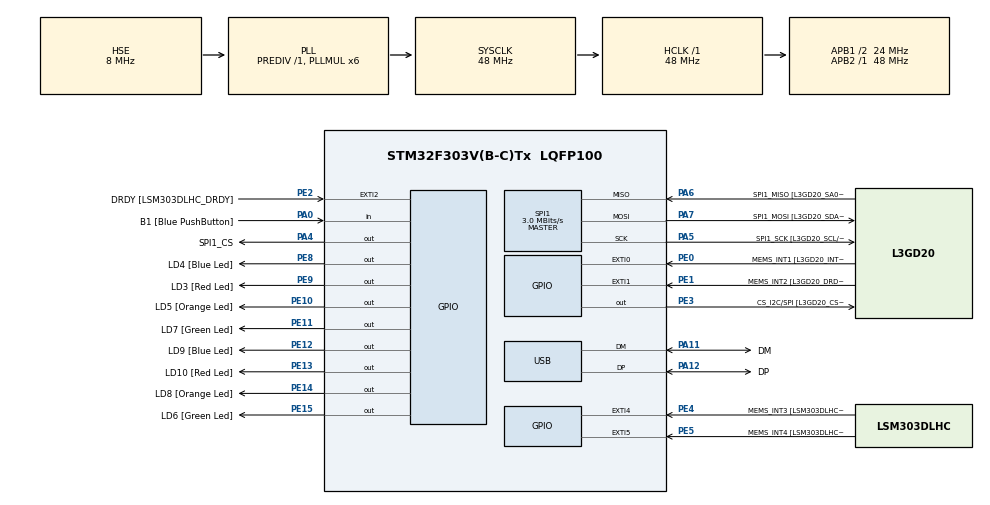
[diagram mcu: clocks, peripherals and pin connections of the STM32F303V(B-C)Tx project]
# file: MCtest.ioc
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Mcu.Family=STM32F3
Mcu.Name=STM32F303V(B-C)Tx
Mcu.Package=LQFP100
NVIC.PriorityGroup=NVIC_PRIORITYGROUP_0
NVIC.USB_LP_CAN_RX0_IRQn=true\:0\:0\:false\:false\:true
PA0.GPIO_Label=B1 [Blue PushButton]
PA0.GPIO_Mode=GPIO_MODE_INPUT
PA0.GPIO_PuPd=GPIO_NOPULL
PA0.Signal=GPIO_Input
PA11.GPIO_Label=DM
PA11.Mode=Device
PA11.Signal=USB_DM
PA12.GPIO_Label=DP
PA12.Mode=Device
PA12.Signal=USB_DP
PA13.GPIO_Label=SWDIO
PA13.Signal=SYS_JTMS-SWDIO
PA14.GPIO_Label=SWCLK
PA14.Signal=SYS_JTCK-SWCLK
PA4.GPIO_Label=SPI1_CS
PA4.PinState=GPIO_PIN_SET
PA4.Signal=GPIO_Output
PA5.GPIO_Label=SPI1_SCK [L3GD20_SCL/SPC]
PA5.GPIO_Mode=GPIO_MODE_AF_PP
PA5.GPIO_PuPd=GPIO_NOPULL
PA5.GPIO_Speed=GPIO_SPEED_FREQ_LOW
PA5.Mode=Full_Duplex_Master
PA5.Signal=SPI1_SCK
PA6.GPIO_Label=SPI1_MISO [L3GD20_SA0/SDO]
PA6.GPIO_Mode=GPIO_MODE_AF_PP
PA6.GPIO_PuPd=GPIO_NOPULL
PA6.GPIO_Speed=GPIO_SPEED_FREQ_LOW
PA6.Mode=Full_Duplex_Master
PA6.Signal=SPI1_MISO
PA7.GPIO_Label=SPI1_MOSI [L3GD20_SDA/SDI/SDO]
PA7.GPIO_Mode=GPIO_MODE_AF_PP
PA7.GPIO_PuPd=GPIO_NOPULL
PA7.GPIO_Speed=GPIO_SPEED_FREQ_LOW
PA7.Mode=Full_Duplex_Master
PA7.Signal=SPI1_MOSI
PB3.GPIO_Label=SWO
PB3.Signal=SYS_JTDO-TRACESWO
PB6.GPIO_FM6=__NULL
PB6.GPIO_Label=I2C1_SCL [LSM303DLHC_SCL]
PB6.GPIO_Mode=GPIO_MODE_AF_OD
PB6.GPIO_PuPd=GPIO_NOPULL
PB6.GPIO_Speed=GPIO_SPEED_FREQ_LOW
PB6.Signal=I2C1_SCL
PB7.GPIO_FM7=__NULL
PB7.GPIO_Label=I2C1_SDA [LSM303DLHC_SDA]
PB7.GPIO_Mode=GPIO_MODE_AF_OD
PB7.GPIO_PuPd=GPIO_NOPULL
PB7.GPIO_Speed=GPIO_SPEED_FREQ_LOW
PB7.Signal=I2C1_SDA
PC14-OSC32_IN.GPIO_Label=OSC32_IN
PC14-OSC32_IN.Signal=RCC_OSC32_IN
PC15-OSC32_OUT.GPIO_Label=OSC32_OUT
PC15-OSC32_OUT.Signal=RCC_OSC32_OUT
PE0.GPIO_Label=MEMS_INT1 [L3GD20_INT1]
PE0.GPIO_ModeDefaultEXTI=GPIO_MODE_EVT_RISING
PE0.GPIO_PuPd=GPIO_NOPULL
PE0.Signal=GPXTI0
PE1.GPIO_Label=MEMS_INT2 [L3GD20_DRDY/INT2]
PE1.GPIO_ModeDefaultEXTI=GPIO_MODE_EVT_RISING
PE1.GPIO_PuPd=GPIO_NOPULL
PE1.Signal=GPXTI1
PE10.GPIO_Label=LD5 [Orange Led]
PE10.GPIO_ModeDefaultOutputPP=GPIO_MODE_OUTPUT_PP
PE10.GPIO_PuPd=GPIO_NOPULL
PE10.GPIO_Speed=GPIO_SPEED_FREQ_LOW
PE10.Signal=GPIO_Output
PE11.GPIO_Label=LD7 [Green Led]
PE11.GPIO_ModeDefaultOutputPP=GPIO_MODE_OUTPUT_PP
PE11.GPIO_PuPd=GPIO_NOPULL
PE11.GPIO_Speed=GPIO_SPEED_FREQ_LOW
PE11.Signal=GPIO_Output
PE12.GPIO_Label=LD9 [Blue Led]
PE12.GPIO_ModeDefaultOutputPP=GPIO_MODE_OUTPUT_PP
PE12.GPIO_PuPd=GPIO_NOPULL
PE12.GPIO_Speed=GPIO_SPEED_FREQ_LOW
PE12.Signal=GPIO_Output
PE13.GPIO_Label=LD10 [Red Led]
PE13.GPIO_ModeDefaultOutputPP=GPIO_MODE_OUTPUT_PP
PE13.GPIO_PuPd=GPIO_NOPULL
PE13.GPIO_Speed=GPIO_SPEED_FREQ_LOW
PE13.Signal=GPIO_Output
PE14.GPIO_Label=LD8 [Orange Led]
PE14.GPIO_ModeDefaultOutputPP=GPIO_MODE_OUTPUT_PP
PE14.GPIO_PuPd=GPIO_NOPULL
PE14.GPIO_Speed=GPIO_SPEED_FREQ_LOW
PE14.Signal=GPIO_Output
PE15.GPIO_Label=LD6 [Green Led]
PE15.GPIO_ModeDefaultOutputPP=GPIO_MODE_OUTPUT_PP
PE15.GPIO_PuPd=GPIO_NOPULL
PE15.GPIO_Speed=GPIO_SPEED_FREQ_LOW
PE15.Signal=GPIO_Output
PE2.GPIO_Label=DRDY [LSM303DLHC_DRDY]
PE2.GPIO_ModeDefaultEXTI=GPIO_MODE_EVT_RISING
PE2.GPIO_PuPd=GPIO_NOPULL
PE2.Signal=GPXTI2
PE3.GPIO_Label=CS_I2C/SPI [L3GD20_CS_I2C/SPI]
PE3.GPIO_ModeDefaultOutputPP=GPIO_MODE_OUTPUT_PP
PE3.GPIO_PuPd=GPIO_NOPULL
PE3.GPIO_Speed=GPIO_SPEED_FREQ_LOW
PE3.Signal=GPIO_Output
PE4.GPIO_Label=MEMS_INT3 [LSM303DLHC_INT1]
PE4.GPIO_ModeDefaultEXTI=GPIO_MODE_EVT_RISING
PE4.GPIO_PuPd=GPIO_NOPULL
PE4.Signal=GPXTI4
PE5.GPIO_Label=MEMS_INT4 [LSM303DLHC_INT2]
PE5.GPIO_ModeDefaultEXTI=GPIO_MODE_EVT_RISING
PE5.GPIO_PuPd=GPIO_NOPULL
PE5.Signal=GPXTI5
PE8.GPIO_Label=LD4 [Blue Led]
PE8.GPIO_ModeDefaultOutputPP=GPIO_MODE_OUTPUT_PP
PE8.GPIO_PuPd=GPIO_NOPULL
PE8.GPIO_Speed=GPIO_SPEED_FREQ_LOW
PE8.Signal=GPIO_Output
PE9.GPIO_Label=LD3 [Red Led]
PE9.GPIO_ModeDefaultOutputPP=GPIO_MODE_OUTPUT_PP
PE9.GPIO_PuPd=GPIO_NOPULL
PE9.GPIO_Speed=GPIO_SPEED_FREQ_LOW
PE9.Signal=GPIO_Output
PF0-OSC_IN.GPIO_Label=OSC_IN
PF0-OSC_IN.Mode=HSE-External-Clock-Source
PF0-OSC_IN.Signal=RCC_OSC_IN
PF1-OSC_OUT.GPIO_Label=OSC_OUT
PF1-OSC_OUT.Signal=RCC_OSC_OUT
ProjectManager.HeapSize=0x200
ProjectManager.StackSize=0x400
ProjectManager.TargetToolchain=SW4STM32
RCC.AHBFreq_Value=48000000
RCC.APB1CLKDivider=RCC_HCLK_DIV2
RCC.APB1Freq_Value=24000000
RCC.APB1TimFreq_Value=48000000
RCC.APB2Freq_Value=48000000
RCC.APB2TimFreq_Value=48000000
RCC.CortexFreq_Value=48000000
RCC.HCLKFreq_Value=48000000
RCC.HSE_VALUE=8000000
RCC.HSIState=RCC_HSI_ON
RCC.HSI_VALUE=8000000
RCC.LSE_VALUE=32768
RCC.PLLMUL=RCC_PLL_MUL6
RCC.SYSCLKFreq_VALUE=48000000
RCC.SYSCLKSourceVirtual=RCC_SYSCLKSOURCE_PLLCLK
RCC.USBFreq_Value=48000000
SPI1.BaudRatePrescaler=SPI_BAUDRATEPRESCALER_16
SPI1.CalculateBaudRate=3.0 MBits/s
SPI1.DataSize=SPI_DATASIZE_8BIT
SPI1.Mode=SPI_MODE_MASTER
USB_DEVICE.CLASS_NAME_FS=CDC
USB_DEVICE.USBD_HandleTypeDef=hUsbDeviceFS
USB_DEVICE.VirtualMode=Cdc
USB_DEVICE.VirtualModeFS=Cdc_FS
VP_USB_DEVICE_VS_USB_DEVICE_CDC_FS.Mode=CDC_FS
board=STM32F3DISCOVERY

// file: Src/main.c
/**
  ******************************************************************************
  * File Name          : main.c
  * Description        : Main program body
  ******************************************************************************
  *
  * Copyright (c) 2016 STMicroelectronics International N.V.
  * All rights reserved.
  *
  * Redistribution and use in source and binary forms, with or without
  * modification, are permitted, provided that the following conditions are met:
  *
  * 1. Redistribution of source code must retain the above copyright notice,
  *    this list of conditions and the following disclaimer.
  * 2. Redistributions in binary form must reproduce the above copyright notice,
  *    this list of conditions and the following disclaimer in the documentation
  *    and/or other materials provided with the distribution.
  * 3. Neither the name of STMicroelectronics nor the names of other
  *    contributors to this software may be used to endorse or promote products
  *    derived from this software without specific written permission.
  * 4. This software, including modifications and/or derivative works of this
  *    software, must execute solely and exclusively on microcontroller or
  *    microprocessor devices manufactured by or for STMicroelectronics.
  * 5. Redistribution and use of this software other than as permitted under
  *    this license is void and will automatically terminate your rights under
  *    this license.
  *
  * THIS SOFTWARE IS PROVIDED BY STMICROELECTRONICS AND CONTRIBUTORS "AS IS"
  * AND ANY EXPRESS, IMPLIED OR STATUTORY WARRANTIES, INCLUDING, BUT NOT
  * LIMITED TO, THE IMPLIED WARRANTIES OF MERCHANTABILITY, FITNESS FOR A
  * PARTICULAR PURPOSE AND NON-INFRINGEMENT OF THIRD PARTY INTELLECTUAL PROPERTY
  * RIGHTS ARE DISCLAIMED TO THE FULLEST EXTENT PERMITTED BY LAW. IN NO EVENT
  * SHALL STMICROELECTRONICS OR CONTRIBUTORS BE LIABLE FOR ANY DIRECT, INDIRECT,
  * INCIDENTAL, SPECIAL, EXEMPLARY, OR CONSEQUENTIAL DAMAGES (INCLUDING, BUT NOT
  * LIMITED TO, PROCUREMENT OF SUBSTITUTE GOODS OR SERVICES; LOSS OF USE, DATA,
  * OR PROFITS; OR BUSINESS INTERRUPTION) HOWEVER CAUSED AND ON ANY THEORY OF
  * LIABILITY, WHETHER IN CONTRACT, STRICT LIABILITY, OR TORT (INCLUDING
  * NEGLIGENCE OR OTHERWISE) ARISING IN ANY WAY OUT OF THE USE OF THIS SOFTWARE,
  * EVEN IF ADVISED OF THE POSSIBILITY OF SUCH DAMAGE.
  *
  ******************************************************************************
  */
#include "main.h"
#include "stm32f3xx_hal.h"
#include "spi.h"
#include "usb_device.h"
#include "gpio.h"

/* USER CODE BEGIN Includes */
#include "myNRF24.h"
#include "TextOut.h"
#include "string.h"
#include "commsfpga.h"

/* USER CODE END Includes */

/* USER CODE BEGIN PV */
/* Private variables ---------------------------------------------------------*/

/* USER CODE END PV */

void SystemClock_Config(void);
void Error_Handler(void);

/* USER CODE BEGIN PFP */
/* Private function prototypes -----------------------------------------------*/

/* USER CODE END PFP */

int main(void)
{

  /* MCU Configuration----------------------------------------------------------*/

  /* Reset of all peripherals, Initializes the Flash interface and the Systick. */
  HAL_Init();

  /* Configure the system clock */
  SystemClock_Config();

  /* Initialize all configured peripherals */
  MX_GPIO_Init();
  MX_SPI1_Init();
  MX_USB_DEVICE_Init();

  /* USER CODE BEGIN 2 */
  HAL_Delay(100);
  while(!HAL_GPIO_ReadPin(GPIOA, GPIO_PIN_0)){
	  HAL_Delay(1);
  }
  fun();

  int intToMotor = 0;

  int loopcntr = 0;

  wheelVelocityPacket wheely;
  wheely.enablesWheels = 0x0F;
  wheely.velocityWheel1 = 0;
  wheely.velocityWheel2 = 0;
  wheely.velocityWheel3 = 0;
  wheely.velocityWheel4 = 0;

  wheelVelocityPacket backWheely;
  /* USER CODE END 2 */

  /* Infinite loop */
  /* USER CODE BEGIN WHILE */
  while (1)
  {
	HAL_Delay(1);

	if(usbLength != 0){
		//TextOut("received Data\n");

		for(int i = 0; i <= usbLength; i++){

			if(usbData[i] >= 48 && usbData[i] <= 57){
				//sprintf(smallStrBuffer, "i = %i; usbData[i] = %i; intToMotor = %i\n", i, usbData[i]-48, intToMotor);
				sprintf(smallStrBuffer, "%i", usbData[i]-48);
				TextOut(smallStrBuffer);
				intToMotor = intToMotor*10;
				intToMotor += (usbData[i] - 48);
			}
			else if(usbData[i] == 32){
				//sprintf(smallStrBuffer, "sending data: %d\n", intToMotor);
				//TextOut(smallStrBuffer);
				TextOut("\n");
				wheely.velocityWheel1 = intToMotor;
				intToMotor = 0;
			}
			else if(usbData[i] != 0){
				TextOut("no number send\n");
				/*sprintf(smallStrBuffer, "data int was: %d\n", usbData[i]);
				TextOut(smallStrBuffer);
				sprintf(smallStrBuffer, "data char was: %c\n", usbData[i]);
				TextOut(smallStrBuffer);*/
				intToMotor = 0;
			}
		}
		usbLength = 0;

	}

	if(loopcntr == 500){
		sendReceivePacket(&hspi1, &wheely, &backWheely);
		sprintf(smallStrBuffer, "motorspeed: %u %u %u %u \n", (unsigned int)backWheely.velocityWheel1, (unsigned int)backWheely.velocityWheel2, (unsigned int)backWheely.velocityWheel3, (unsigned int)backWheely.velocityWheel4);
		TextOut(smallStrBuffer);
		loopcntr = 0;
	}

	if(intToMotor == 0){
		loopcntr++;
	}

  /* USER CODE END WHILE */

  }

}

/** System Clock Configuration
*/
void SystemClock_Config(void)
{

  RCC_OscInitTypeDef RCC_OscInitStruct;
  RCC_ClkInitTypeDef RCC_ClkInitStruct;
  RCC_PeriphCLKInitTypeDef PeriphClkInit;

    /**Initializes the CPU, AHB and APB busses clocks
    */
  RCC_OscInitStruct.OscillatorType = RCC_OSCILLATORTYPE_HSE;
  RCC_OscInitStruct.HSEState = RCC_HSE_BYPASS;
  RCC_OscInitStruct.HSEPredivValue = RCC_HSE_PREDIV_DIV1;
  RCC_OscInitStruct.HSIState = RCC_HSI_ON;
  RCC_OscInitStruct.PLL.PLLState = RCC_PLL_ON;
  RCC_OscInitStruct.PLL.PLLSource = RCC_PLLSOURCE_HSE;
  RCC_OscInitStruct.PLL.PLLMUL = RCC_PLL_MUL6;
  if (HAL_RCC_OscConfig(&RCC_OscInitStruct) != HAL_OK)
  {
    Error_Handler();
  }

    /**Initializes the CPU, AHB and APB busses clocks
    */
  RCC_ClkInitStruct.ClockType = RCC_CLOCKTYPE_HCLK|RCC_CLOCKTYPE_SYSCLK
                              |RCC_CLOCKTYPE_PCLK1|RCC_CLOCKTYPE_PCLK2;
  RCC_ClkInitStruct.SYSCLKSource = RCC_SYSCLKSOURCE_PLLCLK;
  RCC_ClkInitStruct.AHBCLKDivider = RCC_SYSCLK_DIV1;
  RCC_ClkInitStruct.APB1CLKDivider = RCC_HCLK_DIV2;
  RCC_ClkInitStruct.APB2CLKDivider = RCC_HCLK_DIV1;

  if (HAL_RCC_ClockConfig(&RCC_ClkInitStruct, FLASH_LATENCY_1) != HAL_OK)
  {
    Error_Handler();
  }

  PeriphClkInit.PeriphClockSelection = RCC_PERIPHCLK_USB;
  PeriphClkInit.USBClockSelection = RCC_USBCLKSOURCE_PLL;
  if (HAL_RCCEx_PeriphCLKConfig(&PeriphClkInit) != HAL_OK)
  {
    Error_Handler();
  }

    /**Configure the Systick interrupt time
    */
  HAL_SYSTICK_Config(HAL_RCC_GetHCLKFreq()/1000);

    /**Configure the Systick
    */
  HAL_SYSTICK_CLKSourceConfig(SYSTICK_CLKSOURCE_HCLK);

  /* SysTick_IRQn interrupt configuration */
  HAL_NVIC_SetPriority(SysTick_IRQn, 0, 0);
}

void Error_Handler(void)
{
  while(1)
  {
  }
}

/************************ (C) COPYRIGHT STMicroelectronics *****END OF FILE****/
